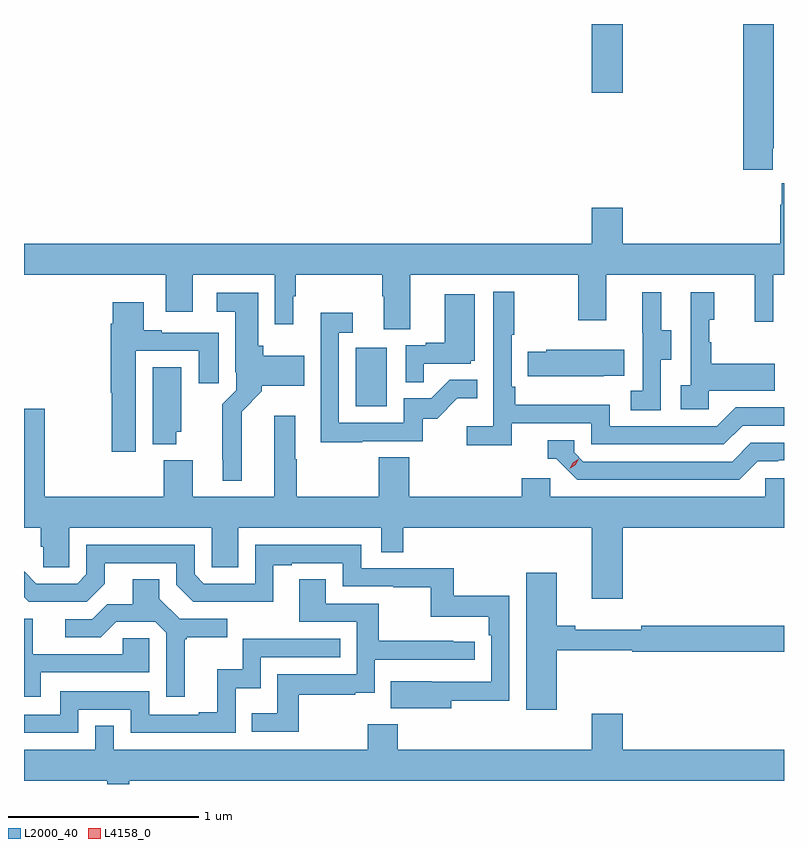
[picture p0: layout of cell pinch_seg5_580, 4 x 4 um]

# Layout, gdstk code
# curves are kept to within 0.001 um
import gdstk
lib = gdstk.Library(unit=1e-6, precision=1e-09)
def R(c, l, rs):  # rectangles x0, y0, x1, y1
    for r in rs: c.add(gdstk.rectangle(r[:2], r[2:], *l))
def P(c, l, *ps):  # polygons
    for p in ps: c.add(gdstk.Polygon(p, *l))
L2000_40 = (2000, 40)
L4158_0 = (4158, 0)

pinch_seg5_580 = lib.new_cell('pinch_seg5_580')
R(pinch_seg5_580, L2000_40, [(1134.794,864.06,1134.958,864.367), (1136.036,865.71,1136.2,866.072)])
P(pinch_seg5_580, L2000_40, [(1136.989,865.417),(1136.994,865.417),(1136.994,866.072),(1136.834,866.072),(1136.834,865.305),(1136.989,865.305)],
  [(1135.081,864.752),(1135.966,864.752),(1135.966,864.513),(1136.113,864.513),(1136.113,864.752),(1136.894,864.752),(1136.894,864.504),(1136.991,864.504),(1136.991,864.752),(1137.048,864.752),(1137.048,865.234),(1137.035,865.234),(1137.035,865.121),(1137.029,865.121),(1137.029,864.916),(1136.2,864.916),(1136.2,865.105),(1136.036,865.105),(1136.036,864.916),(1133.048,864.916),(1133.048,864.752),(1133.795,864.752),(1133.795,864.558),(1133.935,864.558),(1133.935,864.752),(1134.369,864.752),(1134.369,864.492),(1134.466,864.492),(1134.466,864.64),(1134.478,864.64),(1134.478,864.752),(1134.934,864.752),(1134.934,864.64),(1134.941,864.64),(1134.941,864.466),(1135.081,864.466)],
  [(1135.616,863.97),(1136.034,863.97),(1136.034,863.859),(1136.731,863.859),(1136.83,863.958),(1137.048,863.958),(1137.048,864.054),(1136.793,864.054),(1136.694,863.955),(1136.13,863.955),(1136.13,864.067),(1135.634,864.067),(1135.634,864.163),(1135.614,864.163),(1135.614,864.436),(1135.627,864.436),(1135.627,864.664),(1135.518,864.664),(1135.518,863.956),(1135.377,863.956),(1135.377,863.854),(1135.616,863.854)],
  [(1136.652,864.143),(1136.999,864.143),(1136.999,864.283),(1136.665,864.283),(1136.665,864.398),(1136.655,864.398),(1136.655,864.516),(1136.68,864.516),(1136.68,864.661),(1136.556,864.661),(1136.556,864.17),(1136.505,864.17),(1136.505,864.045),(1136.652,864.045)],
  [(1136.4,864.304),(1136.455,864.304),(1136.455,864.459),(1136.401,864.459),(1136.401,864.661),(1136.303,864.661),(1136.303,864.447),(1136.304,864.447),(1136.304,864.143),(1136.241,864.143),(1136.241,864.04),(1136.4,864.04)],
  [(1134.193,864.032),(1134.298,864.138),(1134.298,864.167),(1134.523,864.167),(1134.523,864.325),(1134.306,864.325),(1134.306,864.378),(1134.28,864.378),(1134.28,864.658),(1134.063,864.658),(1134.063,864.557),(1134.161,864.557),(1134.161,864.238),(1134.165,864.238),(1134.165,864.144),(1134.091,864.07),(1134.091,863.779),(1134.095,863.779),(1134.095,863.669),(1134.193,863.669)],
  [(1135.151,864.285),(1135.398,864.285),(1135.398,864.3),(1135.42,864.3),(1135.42,864.649),(1135.262,864.649),(1135.262,864.394),(1135.163,864.394),(1135.163,864.381),(1135.056,864.381),(1135.056,864.187),(1135.151,864.187)],
  [(1133.635,864.351),(1133.969,864.351),(1133.969,864.18),(1134.073,864.18),(1134.073,864.447),(1133.773,864.447),(1133.773,864.46),(1133.677,864.46),(1133.677,864.607),(1133.516,864.607),(1133.516,864.494),(1133.504,864.494),(1133.504,864.132),(1133.509,864.132),(1133.509,863.82),(1133.635,863.82)],
  [(1134.827,863.877),(1135.146,863.877),(1135.146,863.994),(1135.222,863.994),(1135.329,864.101),(1135.433,864.101),(1135.433,864.2),(1135.289,864.2),(1135.191,864.102),(1135.047,864.102),(1135.047,863.973),(1134.705,863.973),(1134.705,864.447),(1134.778,864.447),(1134.778,864.553),(1134.609,864.553),(1134.609,863.872),(1134.827,863.872)],
  [(1136.099,864.221),(1136.207,864.221),(1136.207,864.358),(1135.797,864.358),(1135.797,864.348),(1135.699,864.348),(1135.699,864.218),(1136.099,864.218)],
  [(1133.848,863.925),(1133.875,863.925),(1133.875,864.266),(1133.726,864.266),(1133.726,863.861),(1133.848,863.861)],
  [(1136.2,863.42),(1137.048,863.42),(1137.048,863.682),(1136.949,863.682),(1136.949,863.584),(1135.818,863.584),(1135.818,863.682),(1135.667,863.682),(1135.667,863.584),(1135.076,863.584),(1135.076,863.792),(1134.916,863.792),(1134.916,863.584),(1134.483,863.584),(1134.483,863.78),(1134.475,863.78),(1134.475,864.01),(1134.365,864.01),(1134.365,863.584),(1133.935,863.584),(1133.935,863.776),(1133.783,863.776),(1133.783,863.584),(1133.157,863.584),(1133.157,864.046),(1133.048,864.046),(1133.048,863.42),(1133.135,863.42),(1133.135,863.322),(1133.149,863.322),(1133.149,863.212),(1133.286,863.212),(1133.286,863.42),(1134.036,863.42),(1134.036,863.212),(1134.175,863.212),(1134.175,863.42),(1134.927,863.42),(1134.927,863.293),(1135.043,863.293),(1135.043,863.42),(1136.036,863.42),(1136.036,863.046),(1136.2,863.046)],
  [(1136.911,863.772),(1137.018,863.772),(1137.018,863.775),(1137.048,863.775),(1137.048,863.868),(1136.874,863.868),(1136.775,863.769),(1135.992,863.769),(1135.944,863.817),(1135.944,863.88),(1135.805,863.88),(1135.805,863.784),(1135.848,863.784),(1135.959,863.673),(1136.812,863.673)],
  [(1135.297,862.51),(1135.602,862.51),(1135.602,863.062),(1135.309,863.062),(1135.309,863.208),(1134.822,863.208),(1134.822,863.331),(1134.264,863.331),(1134.264,863.127),(1133.994,863.127),(1133.946,863.175),(1133.946,863.331),(1133.376,863.331),(1133.376,863.175),(1133.328,863.127),(1133.112,863.127),(1133.048,863.191),(1133.048,863.056),(1133.073,863.031),(1133.379,863.031),(1133.473,863.125),(1133.473,863.235),(1133.85,863.235),(1133.85,863.121),(1133.94,863.031),(1134.361,863.03),(1134.361,863.223),(1134.457,863.223),(1134.457,863.235),(1134.726,863.235),(1134.726,863.112),(1134.991,863.112),(1134.991,863.107),(1135.188,863.107),(1135.188,862.952),(1135.493,862.952),(1135.493,862.856),(1135.506,862.856),(1135.506,862.611),(1134.979,862.612),(1134.979,862.472),(1135.297,862.472)],
  [(1135.852,862.776),(1136.248,862.776),(1136.248,862.768),(1137.048,862.768),(1137.048,862.904),(1136.296,862.904),(1136.296,862.885),(1135.948,862.885),(1135.948,862.904),(1135.852,862.904),(1135.852,863.185),(1135.691,863.185),(1135.691,862.464),(1135.852,862.464)],
  [(1134.493,862.542),(1134.791,862.542),(1134.791,862.553),(1134.894,862.553),(1134.894,862.725),(1135.42,862.725),(1135.42,862.821),(1135.307,862.821),(1135.307,862.826),(1134.914,862.826),(1134.914,863.022),(1134.637,863.022),(1134.637,863.15),(1134.497,863.15),(1134.497,862.926),(1134.798,862.926),(1134.798,862.65),(1134.382,862.65),(1134.382,862.444),(1134.247,862.444),(1134.247,862.347),(1134.493,862.347)],
  [(1133.893,862.833),(1133.905,862.833),(1133.905,862.844),(1134.118,862.844),(1134.118,862.941),(1133.868,862.941),(1133.761,863.048),(1133.761,863.15),(1133.621,863.15),(1133.621,863.018),(1133.486,863.018),(1133.406,862.938),(1133.265,862.938),(1133.265,862.845),(1133.452,862.845),(1133.533,862.926),(1133.739,862.926),(1133.796,862.869),(1133.796,862.53),(1133.893,862.53)],
  [(1133.137,862.659),(1133.706,862.659),(1133.706,862.839),(1133.569,862.839),(1133.569,862.755),(1133.095,862.755),(1133.095,862.941),(1133.048,862.941),(1133.048,862.53),(1133.137,862.53)],
  [(1133.334,862.464),(1133.61,862.464),(1133.61,862.341),(1134.162,862.341),(1134.162,862.577),(1134.294,862.577),(1134.294,862.74),(1134.713,862.74),(1134.713,862.836),(1134.198,862.836),(1134.198,862.675),(1134.065,862.675),(1134.065,862.45),(1133.969,862.45),(1133.969,862.437),(1133.706,862.437),(1133.706,862.56),(1133.238,862.56),(1133.238,862.437),(1133.048,862.437),(1133.048,862.341),(1133.334,862.341)],
  [(1133.603,862.088),(1137.048,862.088),(1137.048,862.252),(1136.2,862.252),(1136.2,862.441),(1136.036,862.441),(1136.036,862.252),(1135.016,862.252),(1135.016,862.387),(1134.856,862.387),(1134.856,862.252),(1133.52,862.252),(1133.52,862.379),(1133.424,862.379),(1133.424,862.252),(1133.048,862.252),(1133.048,862.088),(1133.486,862.088),(1133.486,862.072),(1133.603,862.072)])
P(pinch_seg5_580, L4158_0, [(1135.92,863.732),(1135.92,863.732),(1135.937,863.764),(1135.968,863.783),(1135.968,863.783),(1135.968,863.783),(1135.952,863.751),(1135.92,863.732)])

lib.write_gds('pinch_seg5_580.gds')
